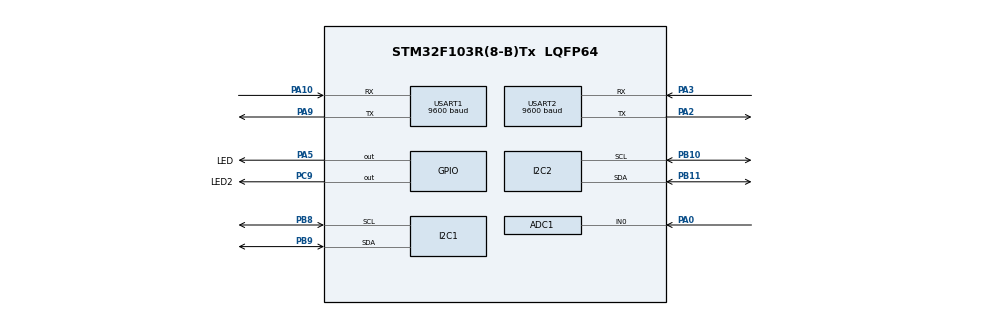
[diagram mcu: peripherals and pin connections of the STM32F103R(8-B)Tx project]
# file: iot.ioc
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ADC1.Channel-0\#ChannelRegularConversion=ADC_CHANNEL_0
ADC1.ContinuousConvMode=ENABLE
ADC1.NbrOfConversionFlag=1
ADC1.Rank-0\#ChannelRegularConversion=1
ADC1.SamplingTime-0\#ChannelRegularConversion=ADC_SAMPLETIME_1CYCLE_5
ADC1.master=1
Mcu.Family=STM32F1
Mcu.Name=STM32F103R(8-B)Tx
Mcu.Package=LQFP64
NVIC.I2C1_EV_IRQn=true\:0\:0\:false\:false\:true\:true\:true\:true
NVIC.I2C2_EV_IRQn=true\:0\:0\:false\:false\:true\:true\:true\:true
NVIC.PriorityGroup=NVIC_PRIORITYGROUP_4
NVIC.TIM2_IRQn=true\:0\:0\:false\:false\:true\:true\:true\:true
NVIC.USART1_IRQn=true\:0\:0\:false\:false\:true\:true\:true\:true
NVIC.USART2_IRQn=true\:0\:0\:false\:false\:true\:true\:true\:true
PA0-WKUP.Signal=ADCx_IN0
PA10.Mode=Asynchronous
PA10.Signal=USART1_RX
PA2.Mode=Asynchronous
PA2.Signal=USART2_TX
PA3.Mode=Asynchronous
PA3.Signal=USART2_RX
PA5.GPIO_Label=LED
PA5.Signal=GPIO_Output
PA9.Mode=Asynchronous
PA9.Signal=USART1_TX
PB10.Mode=I2C
PB10.Signal=I2C2_SCL
PB11.Mode=I2C
PB11.Signal=I2C2_SDA
PB8.Mode=I2C
PB8.Signal=I2C1_SCL
PB9.Mode=I2C
PB9.Signal=I2C1_SDA
PC9.GPIO_Label=LED2
PC9.Signal=GPIO_Output
ProjectManager.HeapSize=0x200
ProjectManager.StackSize=0x400
ProjectManager.TargetToolchain=STM32CubeIDE
RCC.APB1Freq_Value=8000000
RCC.APB2Freq_Value=8000000
SH.ADCx_IN0.0=ADC1_IN0,IN0
TIM2.Period=9
TIM2.Prescaler=7999
USART1.BaudRate=9600
USART1.VirtualMode=VM_ASYNC
USART2.BaudRate=9600
USART2.VirtualMode=VM_ASYNC
VP_TIM2_VS_ClockSourceINT.Mode=Internal
board=custom

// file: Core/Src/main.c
/* USER CODE BEGIN Header */
/**
  ******************************************************************************
  * @file           : main.c
  * @brief          : Main program body
  ******************************************************************************
  * @attention
  *
  * Copyright (c) 2023 STMicroelectronics.
  * All rights reserved.
  *
  * This software is licensed under terms that can be found in the LICENSE file
  * in the root directory of this software component.
  * If no LICENSE file comes with this software, it is provided AS-IS.
  *
  ******************************************************************************
  */
/* USER CODE END Header */
#include "main.h"

/* USER CODE BEGIN Includes */
#include"timer.h"
#include"uart.h"
#include"scheduler.h"
#include"sensor.h"
#include"version.h"
/* USER CODE END Includes */

ADC_HandleTypeDef hadc1;

I2C_HandleTypeDef hi2c1;
I2C_HandleTypeDef hi2c2;

TIM_HandleTypeDef htim2;

UART_HandleTypeDef huart2;

/* USER CODE BEGIN PV */
TIM_HandleTypeDef htim2;

/* USER CODE END PV */

void SystemClock_Config(void);
static void MX_GPIO_Init(void);
static void MX_I2C1_Init(void);
static void MX_TIM2_Init(void);
static void MX_USART2_UART_Init(void);
static void MX_USART1_UART_Init(void);
static void MX_ADC1_Init(void);
static void MX_I2C2_Init(void);

/* USER CODE BEGIN 0 */
void HAL_UART_RxCpltCallback(UART_HandleTypeDef *huart){
	if(huart->Instance == USART1){
		//HAL_UART_Transmit(&huart1, &buffer_byte, 1, 500);
		buffer[index_buffer] = buffer_byte;
		index_buffer++;
		if (index_buffer == MAX_BUFFER_SIZE){
			index_buffer = 0;
			resetBuf();
		}
		buffer_flag++;
		HAL_UART_Receive_IT(&huart1, &buffer_byte, 1);
	}
}

void fsmWrapper(){
	if(buffer_flag > 0){
		command_parser_fsm();
		buffer_flag--;
	}
}

/* USER CODE END 0 */

int main(void)
{

  /* MCU Configuration--------------------------------------------------------*/

  /* Reset of all peripherals, Initializes the Flash interface and the Systick. */
  HAL_Init();

  /* Configure the system clock */
  SystemClock_Config();

  /* Initialize all configured peripherals */
  MX_GPIO_Init();
  MX_I2C1_Init();
  MX_TIM2_Init();
  MX_USART2_UART_Init();
  MX_USART1_UART_Init();
  MX_ADC1_Init();
  MX_I2C2_Init();
  /* USER CODE BEGIN 2 */
  HAL_UART_Receive_IT(&huart1, &buffer_byte, 1);
  HAL_TIM_Base_Start_IT(&htim2);
  initReading();
  /*Add task to scheduler*/
  scanAddr();
  SCH_Add_Task(fsmWrapper, 0, 1);
  SCH_Add_Task(uart_communiation_fsm, 0, 200);
  SCH_Add_Task(pullSensor,0,100);
//SCH_Add_Task(sensorCheck(),0,10);
  /* USER CODE END 2 */

  /* Infinite loop */
  /* USER CODE BEGIN WHILE */
  while (1)
  {
	  SCH_Dispatch_Tasks();
    /* USER CODE END WHILE */

  }
}

void SystemClock_Config(void)
{
  RCC_OscInitTypeDef RCC_OscInitStruct = {0};
  RCC_ClkInitTypeDef RCC_ClkInitStruct = {0};
  RCC_PeriphCLKInitTypeDef PeriphClkInit = {0};

  /** Initializes the RCC Oscillators according to the specified parameters
  * in the RCC_OscInitTypeDef structure.
  */
  RCC_OscInitStruct.OscillatorType = RCC_OSCILLATORTYPE_HSI;
  RCC_OscInitStruct.HSIState = RCC_HSI_ON;
  RCC_OscInitStruct.HSICalibrationValue = RCC_HSICALIBRATION_DEFAULT;
  RCC_OscInitStruct.PLL.PLLState = RCC_PLL_NONE;
  if (HAL_RCC_OscConfig(&RCC_OscInitStruct) != HAL_OK)
  {
    Error_Handler();
  }

  /** Initializes the CPU, AHB and APB buses clocks
  */
  RCC_ClkInitStruct.ClockType = RCC_CLOCKTYPE_HCLK|RCC_CLOCKTYPE_SYSCLK
                              |RCC_CLOCKTYPE_PCLK1|RCC_CLOCKTYPE_PCLK2;
  RCC_ClkInitStruct.SYSCLKSource = RCC_SYSCLKSOURCE_HSI;
  RCC_ClkInitStruct.AHBCLKDivider = RCC_SYSCLK_DIV1;
  RCC_ClkInitStruct.APB1CLKDivider = RCC_HCLK_DIV1;
  RCC_ClkInitStruct.APB2CLKDivider = RCC_HCLK_DIV1;

  if (HAL_RCC_ClockConfig(&RCC_ClkInitStruct, FLASH_LATENCY_0) != HAL_OK)
  {
    Error_Handler();
  }
  PeriphClkInit.PeriphClockSelection = RCC_PERIPHCLK_ADC;
  PeriphClkInit.AdcClockSelection = RCC_ADCPCLK2_DIV2;
  if (HAL_RCCEx_PeriphCLKConfig(&PeriphClkInit) != HAL_OK)
  {
    Error_Handler();
  }
}

static void MX_ADC1_Init(void)
{

  ADC_ChannelConfTypeDef sConfig = {0};

  /** Common config
  */
  hadc1.Instance = ADC1;
  hadc1.Init.ScanConvMode = ADC_SCAN_DISABLE;
  hadc1.Init.ContinuousConvMode = ENABLE;
  hadc1.Init.DiscontinuousConvMode = DISABLE;
  hadc1.Init.ExternalTrigConv = ADC_SOFTWARE_START;
  hadc1.Init.DataAlign = ADC_DATAALIGN_RIGHT;
  hadc1.Init.NbrOfConversion = 1;
  if (HAL_ADC_Init(&hadc1) != HAL_OK)
  {
    Error_Handler();
  }

  /** Configure Regular Channel
  */
  sConfig.Channel = ADC_CHANNEL_0;
  sConfig.Rank = ADC_REGULAR_RANK_1;
  sConfig.SamplingTime = ADC_SAMPLETIME_1CYCLE_5;
  if (HAL_ADC_ConfigChannel(&hadc1, &sConfig) != HAL_OK)
  {
    Error_Handler();
  }

}

static void MX_I2C1_Init(void)
{

  hi2c1.Instance = I2C1;
  hi2c1.Init.ClockSpeed = 100000;
  hi2c1.Init.DutyCycle = I2C_DUTYCYCLE_2;
  hi2c1.Init.OwnAddress1 = 0;
  hi2c1.Init.AddressingMode = I2C_ADDRESSINGMODE_7BIT;
  hi2c1.Init.DualAddressMode = I2C_DUALADDRESS_DISABLE;
  hi2c1.Init.OwnAddress2 = 0;
  hi2c1.Init.GeneralCallMode = I2C_GENERALCALL_DISABLE;
  hi2c1.Init.NoStretchMode = I2C_NOSTRETCH_DISABLE;
  if (HAL_I2C_Init(&hi2c1) != HAL_OK)
  {
    Error_Handler();
  }

}

static void MX_I2C2_Init(void)
{

  hi2c2.Instance = I2C2;
  hi2c2.Init.ClockSpeed = 100000;
  hi2c2.Init.DutyCycle = I2C_DUTYCYCLE_2;
  hi2c2.Init.OwnAddress1 = 0;
  hi2c2.Init.AddressingMode = I2C_ADDRESSINGMODE_7BIT;
  hi2c2.Init.DualAddressMode = I2C_DUALADDRESS_DISABLE;
  hi2c2.Init.OwnAddress2 = 0;
  hi2c2.Init.GeneralCallMode = I2C_GENERALCALL_DISABLE;
  hi2c2.Init.NoStretchMode = I2C_NOSTRETCH_DISABLE;
  if (HAL_I2C_Init(&hi2c2) != HAL_OK)
  {
    Error_Handler();
  }

}

static void MX_TIM2_Init(void)
{

  TIM_ClockConfigTypeDef sClockSourceConfig = {0};
  TIM_MasterConfigTypeDef sMasterConfig = {0};

  htim2.Instance = TIM2;
  htim2.Init.Prescaler = 7999;
  htim2.Init.CounterMode = TIM_COUNTERMODE_UP;
  htim2.Init.Period = 9;
  htim2.Init.ClockDivision = TIM_CLOCKDIVISION_DIV1;
  htim2.Init.AutoReloadPreload = TIM_AUTORELOAD_PRELOAD_DISABLE;
  if (HAL_TIM_Base_Init(&htim2) != HAL_OK)
  {
    Error_Handler();
  }
  sClockSourceConfig.ClockSource = TIM_CLOCKSOURCE_INTERNAL;
  if (HAL_TIM_ConfigClockSource(&htim2, &sClockSourceConfig) != HAL_OK)
  {
    Error_Handler();
  }
  sMasterConfig.MasterOutputTrigger = TIM_TRGO_RESET;
  sMasterConfig.MasterSlaveMode = TIM_MASTERSLAVEMODE_DISABLE;
  if (HAL_TIMEx_MasterConfigSynchronization(&htim2, &sMasterConfig) != HAL_OK)
  {
    Error_Handler();
  }

}

static void MX_USART1_UART_Init(void)
{

  huart1.Instance = USART1;
  huart1.Init.BaudRate = 9600;
  huart1.Init.WordLength = UART_WORDLENGTH_8B;
  huart1.Init.StopBits = UART_STOPBITS_1;
  huart1.Init.Parity = UART_PARITY_NONE;
  huart1.Init.Mode = UART_MODE_TX_RX;
  huart1.Init.HwFlowCtl = UART_HWCONTROL_NONE;
  huart1.Init.OverSampling = UART_OVERSAMPLING_16;
  if (HAL_UART_Init(&huart1) != HAL_OK)
  {
    Error_Handler();
  }

}

static void MX_USART2_UART_Init(void)
{

  huart2.Instance = USART2;
  huart2.Init.BaudRate = 9600;
  huart2.Init.WordLength = UART_WORDLENGTH_8B;
  huart2.Init.StopBits = UART_STOPBITS_1;
  huart2.Init.Parity = UART_PARITY_NONE;
  huart2.Init.Mode = UART_MODE_TX_RX;
  huart2.Init.HwFlowCtl = UART_HWCONTROL_NONE;
  huart2.Init.OverSampling = UART_OVERSAMPLING_16;
  if (HAL_UART_Init(&huart2) != HAL_OK)
  {
    Error_Handler();
  }

}

static void MX_GPIO_Init(void)
{
  GPIO_InitTypeDef GPIO_InitStruct = {0};

  /* GPIO Ports Clock Enable */
  __HAL_RCC_GPIOA_CLK_ENABLE();
  __HAL_RCC_GPIOB_CLK_ENABLE();
  __HAL_RCC_GPIOC_CLK_ENABLE();

  /*Configure GPIO pin Output Level */
  HAL_GPIO_WritePin(LED_GPIO_Port, LED_Pin, GPIO_PIN_RESET);

  /*Configure GPIO pin Output Level */
  HAL_GPIO_WritePin(LED2_GPIO_Port, LED2_Pin, GPIO_PIN_RESET);

  /*Configure GPIO pin : LED_Pin */
  GPIO_InitStruct.Pin = LED_Pin;
  GPIO_InitStruct.Mode = GPIO_MODE_OUTPUT_PP;
  GPIO_InitStruct.Pull = GPIO_NOPULL;
  GPIO_InitStruct.Speed = GPIO_SPEED_FREQ_LOW;
  HAL_GPIO_Init(LED_GPIO_Port, &GPIO_InitStruct);

  /*Configure GPIO pin : LED2_Pin */
  GPIO_InitStruct.Pin = LED2_Pin;
  GPIO_InitStruct.Mode = GPIO_MODE_OUTPUT_PP;
  GPIO_InitStruct.Pull = GPIO_NOPULL;
  GPIO_InitStruct.Speed = GPIO_SPEED_FREQ_LOW;
  HAL_GPIO_Init(LED2_GPIO_Port, &GPIO_InitStruct);

}

/* USER CODE BEGIN 4 */
void HAL_TIM_PeriodElapsedCallback(TIM_HandleTypeDef *htim){
	SCH_Update();
}
/* USER CODE END 4 */

void Error_Handler(void)
{
  __disable_irq();
  while (1)
  {
  }
}
